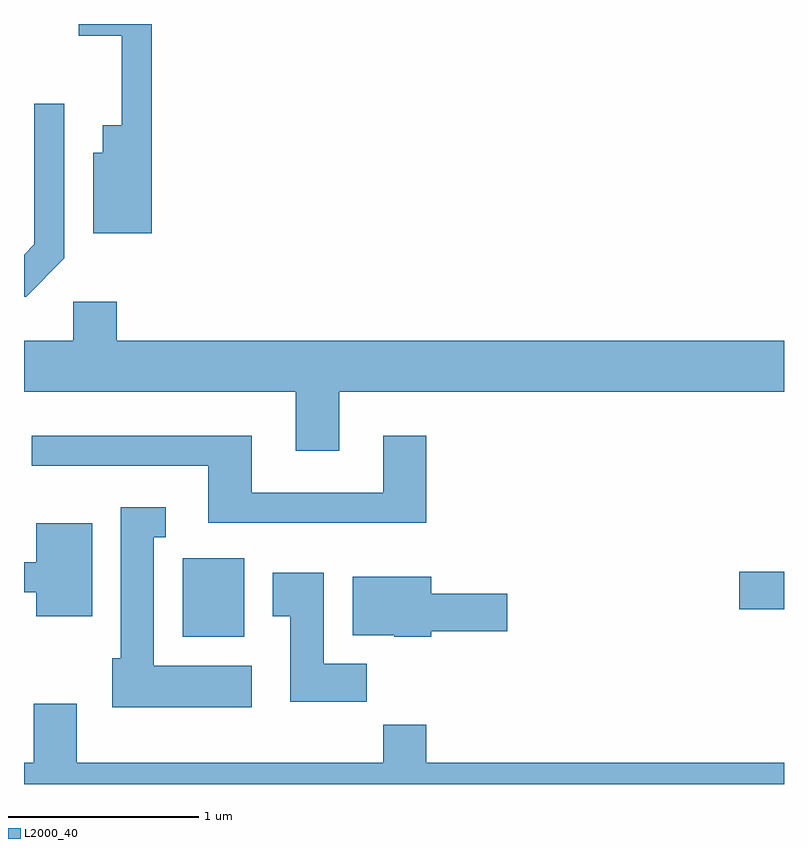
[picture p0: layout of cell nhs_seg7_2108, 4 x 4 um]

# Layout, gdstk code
import gdstk
lib = gdstk.Library(unit=1e-6, precision=1e-09)
def R(c, l, rs):  # rectangles x0, y0, x1, y1
    for r in rs: c.add(gdstk.rectangle(r[:2], r[2:], *l))
def P(c, l, *ps):  # polygons
    for p in ps: c.add(gdstk.Polygon(p, *l))
L2000_40 = (2000, 40)

nhs_seg7_2108 = lib.new_cell('nhs_seg7_2108')
R(nhs_seg7_2108, L2000_40, [(250.446,1713.026,250.769,1713.439), (253.376,1713.171,253.611,1713.369)])
P(nhs_seg7_2108, L2000_40, [(250.284,1716.252),(249.898,1716.252),(249.898,1716.191),(250.126,1716.191),(250.126,1715.719),(250.026,1715.719),(250.026,1715.574),(249.976,1715.574),(249.976,1715.151),(250.284,1715.151)],
  [(249.824,1715.019),(249.824,1715.833),(249.666,1715.833),(249.666,1715.092),(249.611,1715.037),(249.611,1714.816),(249.622,1714.816)],
  [(251.269,1714.316),(253.611,1714.316),(253.611,1714.584),(250.099,1714.584),(250.099,1714.789),(249.871,1714.789),(249.871,1714.584),(249.611,1714.584),(249.611,1714.316),(251.041,1714.316),(251.041,1714.006),(251.269,1714.006)],
  [(251.729,1714.084),(251.501,1714.084),(251.501,1713.784),(250.809,1713.784),(250.809,1714.084),(249.653,1714.084),(249.653,1713.926),(250.581,1713.926),(250.581,1713.626),(251.729,1713.626)],
  [(250.809,1712.874),(250.294,1712.874),(250.294,1713.551),(250.358,1713.551),(250.358,1713.709),(250.121,1713.709),(250.121,1712.914),(250.076,1712.914),(250.076,1712.656),(250.809,1712.656)],
  [(249.969,1713.624),(249.676,1713.624),(249.676,1713.419),(249.611,1713.419),(249.611,1713.261),(249.676,1713.261),(249.676,1713.136),(249.969,1713.136)],
  [(251.414,1712.884),(251.189,1712.884),(251.189,1713.364),(250.921,1713.364),(250.921,1713.136),(251.011,1713.136),(251.011,1712.686),(251.414,1712.686)],
  [(251.754,1713.056),(252.154,1713.056),(252.154,1713.254),(251.754,1713.254),(251.754,1713.344),(251.341,1713.344),(251.341,1713.036),(251.56,1713.036),(251.56,1713.026),(251.754,1713.026)],
  [(253.611,1712.364),(251.729,1712.364),(251.729,1712.564),(251.501,1712.564),(251.501,1712.364),(249.889,1712.364),(249.889,1712.674),(249.661,1712.674),(249.661,1712.364),(249.611,1712.364),(249.611,1712.252),(253.611,1712.252)])

lib.write_gds('nhs_seg7_2108.gds')
